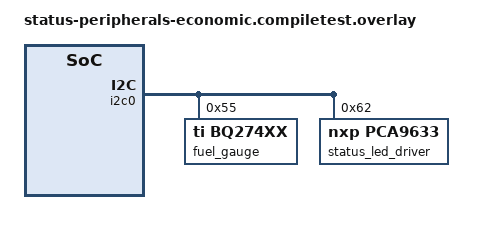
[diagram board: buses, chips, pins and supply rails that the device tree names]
/*
 * JLCPCB Economic-oriented compile-time integration test:
 * TI BQ27421/BQ27427 fuel gauge + NXP PCA9633 RGB status driver.
 *
 * PCA9633 channels:
 *   LED0 -> Red
 *   LED1 -> Green
 *   LED2 -> Blue
 * LED3 is unused/reserved.
 *
 * Battery parameters are representative PoC values only and MUST be replaced
 * with values for the selected cell/charger before hardware use.
 */

/ {
    chosen {
        zmk,battery = &fuel_gauge;
    };
};

&i2c0 {
    fuel_gauge: bq274xx@55 {
        compatible = "ti,bq274xx";
        reg = <0x55>;
        status = "okay";

        design-voltage = <3700>;
        design-capacity = <1000>;
        taper-current = <100>;
        terminate-voltage = <3300>;
        zephyr,lazy-load;
    };

    status_led_driver: pca9633@62 {
        compatible = "nxp,pca9633";
        reg = <0x62>;
        status = "okay";
        disable-allcall;
    };
};
